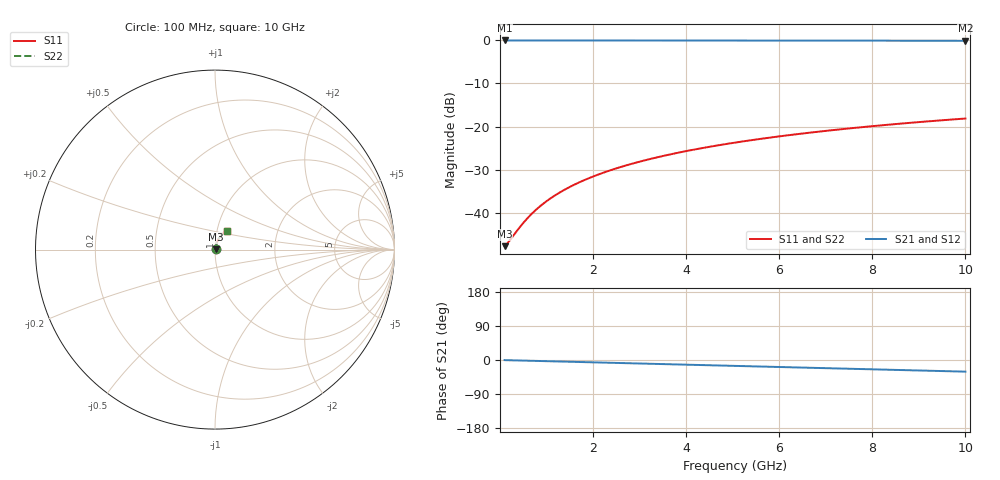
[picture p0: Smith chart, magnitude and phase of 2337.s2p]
# Hz S RI R 50.00
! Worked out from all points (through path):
!   100 points, 100 MHz to 10 GHz, reference 50 ohm
!   highest |S21| = -0.03 dB at 100 MHz (marker M1); lowest = -0.1 dB at 10 GHz (marker M2)
!   group delay of S21, straight-line fit = 8.54 ps
!   lowest |S11| = -47.7 dB at 100 MHz (marker M3), VSWR 1.01, Z = 50.4 + j0.13 ohm
!   |S11| at or under -10 dB: start of sweep to end of sweep
!   |S22| runs from -47.7 to -18.1 dB; largest |S21 - S12| = 0
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1e8  0.00392 0.00129  0.9961 -0.00535  0.9961 -0.00535  0.00392 0.00129
2e8  0.00397 0.00258  0.996 -0.0107  0.996 -0.0107  0.00397 0.00258
4e8  0.00408 0.00515  0.9958 -0.0214  0.9958 -0.0214  0.00408 0.00515
5e8  0.00415 0.00644  0.9956 -0.0268  0.9956 -0.0268  0.00415 0.00644
6e8  0.00424 0.00772  0.9954 -0.0321  0.9954 -0.0321  0.00424 0.00772
7e8  0.00434 0.009  0.9952 -0.0375  0.9952 -0.0375  0.00434 0.009
9e8  0.00458 0.0116  0.9947 -0.0481  0.9947 -0.0481  0.00458 0.0116
1.1e9  0.00487 0.0141  0.9941 -0.0588  0.9941 -0.0588  0.00487 0.0141
1.3e9  0.00521 0.0167  0.9933 -0.0695  0.9933 -0.0695  0.00521 0.0167
1.5e9  0.00561 0.0192  0.9925 -0.0802  0.9925 -0.0802  0.00561 0.0192
1.8e9  0.00631 0.023  0.9909 -0.0962  0.9909 -0.0962  0.00631 0.023
2.1e9  0.00712 0.0268  0.9891 -0.1121  0.9891 -0.1121  0.00712 0.0268
2.5e9  0.0084 0.0318  0.9863 -0.1333  0.9863 -0.1333  0.0084 0.0318
2.9e9  0.00989 0.0367  0.983 -0.1545  0.983 -0.1545  0.00989 0.0367
3.4e9  0.0121 0.0427  0.9782 -0.1807  0.9782 -0.1807  0.0121 0.0427
4.2e9  0.0162 0.0521  0.969 -0.2225  0.969 -0.2225  0.0162 0.0521
5.1e9  0.0217 0.0622  0.9565 -0.2688  0.9565 -0.2688  0.0217 0.0622
5.9e9  0.0275 0.0707  0.9433 -0.3094  0.9433 -0.3094  0.0275 0.0707
6.7e9  0.0339 0.0787  0.9284 -0.3492  0.9284 -0.3492  0.0339 0.0787
7.5e9  0.041 0.086  0.9118 -0.3883  0.9118 -0.3883  0.041 0.086
8.4e9  0.0497 0.0935  0.8911 -0.4313  0.8911 -0.4313  0.0497 0.0935
1e10  0.0668 0.1046  0.8491 -0.5047  0.8491 -0.5047  0.0668 0.1046
